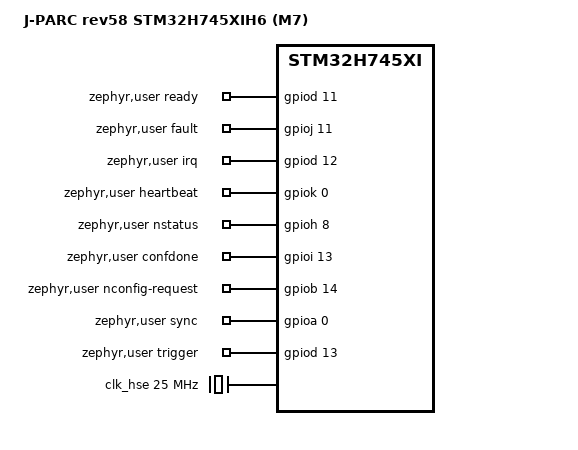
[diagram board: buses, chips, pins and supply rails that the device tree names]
/* SPDX-License-Identifier: Apache-2.0 */
/dts-v1/;
#include <st/h7/stm32h745Xi_m7.dtsi>
#include <st/h7/stm32h745xihx-pinctrl.dtsi>
#include <zephyr/dt-bindings/gpio/gpio.h>

/ {
    model = "J-PARC rev58 STM32H745XIH6 (M7)";
    compatible = "jparc,rev58";
    chosen {
        zephyr,flash = &flash0;
        zephyr,sram = &sram0;
        zephyr,dtcm = &dtcm;
    };
    /* Raw electrical levels; protocol active polarity is not yet specified. */
    zephyr,user {
        ready-gpios = <&gpiod 11 GPIO_ACTIVE_HIGH>;
        fault-gpios = <&gpioj 11 GPIO_ACTIVE_HIGH>;
        irq-gpios = <&gpiod 12 GPIO_ACTIVE_HIGH>;
        heartbeat-gpios = <&gpiok 0 GPIO_ACTIVE_HIGH>;
        nstatus-gpios = <&gpioh 8 GPIO_ACTIVE_HIGH>;
        confdone-gpios = <&gpioi 13 GPIO_ACTIVE_HIGH>;
        nconfig-request-gpios = <&gpiob 14 GPIO_ACTIVE_HIGH>;
        sync-gpios = <&gpioa 0 GPIO_ACTIVE_HIGH>;
        trigger-gpios = <&gpiod 13 GPIO_ACTIVE_HIGH>;
    };
};

&pwr { power-supply = "smps-direct"; };
&clk_hse {
    clock-frequency = <25000000>;
    hse-bypass;
    status = "okay";
};
/* 25 / 5 * 160 = 800 MHz VCO; P=400 MHz, Q=100 MHz. */
&pll {
    div-m = <5>;
    mul-n = <160>;
    div-p = <2>;
    div-q = <8>;
    div-r = <2>;
    clocks = <&clk_hse>;
    status = "okay";
};
&rcc {
    clocks = <&pll>;
    clock-frequency = <400000000>;
    d1cpre = <1>;
    hpre = <2>;
    d1ppre = <2>;
    d2ppre1 = <2>;
    d2ppre2 = <2>;
    d3ppre = <2>;
};
/* External peripherals are defined separately and disabled by default. */
#include "jparc_rev58-peripherals.dtsi"
